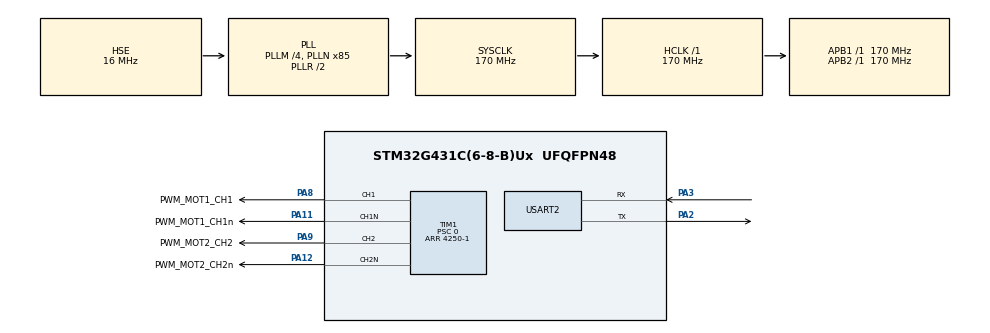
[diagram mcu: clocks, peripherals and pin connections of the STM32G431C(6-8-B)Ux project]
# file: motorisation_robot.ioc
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FREERTOS.Tasks01=defaultTask,0,128,StartDefaultTask,Default,NULL,Dynamic,NULL,NULL
Mcu.Family=STM32G4
Mcu.Name=STM32G431C(6-8-B)Ux
Mcu.Package=UFQFPN48
NVIC.PriorityGroup=NVIC_PRIORITYGROUP_4
PA11.GPIO_Label=PWM_MOT1_CH1n
PA11.Mode=PWM Generation1 CH1 CH1N
PA11.Signal=TIM1_CH1N
PA12.GPIO_Label=PWM_MOT2_CH2n
PA12.Mode=PWM Generation2 CH2 CH2N
PA12.Signal=TIM1_CH2N
PA2.Mode=Asynchronous
PA2.Signal=USART2_TX
PA3.Mode=Asynchronous
PA3.Signal=USART2_RX
PA8.GPIO_Label=PWM_MOT1_CH1
PA8.Signal=S_TIM1_CH1
PA9.GPIO_Label=PWM_MOT2_CH2
PA9.Signal=S_TIM1_CH2
PF0-OSC_IN.Mode=HSE-External-Oscillator
PF0-OSC_IN.Signal=RCC_OSC_IN
PF1-OSC_OUT.Mode=HSE-External-Oscillator
PF1-OSC_OUT.Signal=RCC_OSC_OUT
ProjectManager.HeapSize=0x200
ProjectManager.StackSize=0x400
ProjectManager.TargetToolchain=STM32CubeIDE
RCC.ADC12Freq_Value=170000000
RCC.AHBFreq_Value=170000000
RCC.APB1Freq_Value=170000000
RCC.APB1TimFreq_Value=170000000
RCC.APB2Freq_Value=170000000
RCC.APB2TimFreq_Value=170000000
RCC.CortexFreq_Value=170000000
RCC.EXTERNAL_CLOCK_VALUE=12288000
RCC.HCLKFreq_Value=170000000
RCC.HSE_VALUE=16000000
RCC.HSI48_VALUE=48000000
RCC.HSI_VALUE=16000000
RCC.LSE_VALUE=32768
RCC.PLLM=RCC_PLLM_DIV4
RCC.PLLN=85
RCC.PLLSourceVirtual=RCC_PLLSOURCE_HSE
RCC.SYSCLKFreq_VALUE=170000000
RCC.SYSCLKSource=RCC_SYSCLKSOURCE_PLLCLK
RCC.USBFreq_Value=170000000
RCC.VCOOutputFreq_Value=340000000
SH.S_TIM1_CH1.0=TIM1_CH1,PWM Generation1 CH1 CH1N
SH.S_TIM1_CH2.0=TIM1_CH2,PWM Generation2 CH2 CH2N
TIM1.Channel-PWM\ Generation1\ CH1\ CH1N=TIM_CHANNEL_1
TIM1.Channel-PWM\ Generation2\ CH2\ CH2N=TIM_CHANNEL_2
TIM1.CounterMode=TIM_COUNTERMODE_CENTERALIGNED1
TIM1.PeriodNoDither=4250-1
TIM1.Prescaler=0
TIM1.PulseNoDither_1=2450
TIM1.PulseNoDither_2=2450
USART2.VirtualMode-Asynchronous=VM_ASYNC
VP_FREERTOS_VS_CMSIS_V1.Mode=CMSIS_V1
VP_SYS_VS_DBSignals.Mode=DisableDeadBatterySignals
VP_TIM1_VS_ClockSourceINT.Mode=Internal
board=custom

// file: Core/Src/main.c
/* USER CODE BEGIN Header */
/**
 ******************************************************************************
 * @file           : main.c
 * @brief          : Main program body
 ******************************************************************************
 * @attention
 *
 * Copyright (c) 2024 STMicroelectronics.
 * All rights reserved.
 *
 * This software is licensed under terms that can be found in the LICENSE file
 * in the root directory of this software component.
 * If no LICENSE file comes with this software, it is provided AS-IS.
 *
 ******************************************************************************
 */
/* USER CODE END Header */
#include "main.h"
#include "cmsis_os.h"
#include "tim.h"
#include "usart.h"
#include "gpio.h"

/* USER CODE BEGIN Includes */
#include "drv_mot.h"
//#include "drv_mot_3.h"
#include <stdlib.h>
/* USER CODE END Includes */

/* USER CODE BEGIN PM */
#define POSITIVE_ROTATION 0
#define NEGATIVE_ROTATION 1
/* USER CODE END PM */

void SystemClock_Config(void);
void MX_FREERTOS_Init(void);

/* USER CODE BEGIN 0 */
//void start_pwm(){
//
//	HAL_TIM_PWM_Start(&htim1, TIM_CHANNEL_1);
//	HAL_TIMEx_PWMN_Start(&htim1,TIM_CHANNEL_1);
//
//	HAL_TIM_PWM_Start(&htim1, TIM_CHANNEL_2);
//	HAL_TIMEx_PWMN_Start(&htim1, TIM_CHANNEL_2);
//
//};

#ifdef __GNUC__ /* With GCC/RAISONANCE, small printf (option LD Linker->Libraries->Small printf    set to 'Yes') calls __io_putchar() */
#define PUTCHAR_PROTOTYPE int __io_putchar(int ch)
#else
#define PUTCHAR_PROTOTYPE int fputc(int ch, FILE *f)
#endif /* __GNUC__ */

/*void TaskMOTOR (void * pvParameters){
	for(;;){
		update_motor(motor1);
		update_motor(motor2);
		vTaskDelay(50);
	}
}*/

/* USER CODE END 0 */

int main(void)
{

  /* MCU Configuration--------------------------------------------------------*/

  /* Reset of all peripherals, Initializes the Flash interface and the Systick. */
  HAL_Init();

  /* Configure the system clock */
  SystemClock_Config();

  /* Initialize all configured peripherals */
  MX_GPIO_Init();
  MX_TIM1_Init();
  MX_USART2_UART_Init();
  /* USER CODE BEGIN 2 */

	//	MOTION_FWD
	//	MOTION_BACKWD

	//Bot_init(MOTION_FWD);
	//Bot_init(MOTION_FWD,50);
	Bot_init(MOTION_BACKWD,50);

#ifdef DEBUG_MODE //test unitaire marche forward et reverse

	// Initialisation des structures moteurs
	    Motor_drv_struct mtr_left, mtr_right;

	    // Assignation des canaux aux moteurs
	    DRV_MOT_Init(&mtr_left, MTR1_CHANNEL);  // Moteur gauche sur le canal 1
	    DRV_MOT_Init(&mtr_right, MTR2_CHANNEL); // Moteur droit sur le canal 2

	    // Initialisation pour tester le mode BACKWARD
	    printf("Test des moteurs en marche arrière\n");

	    // Lancement des moteurs en marche arrière
	    DRV_MOT_bot_dualRev(&mtr_left, &mtr_right);

	    // Réglage de la vitesse des moteurs
	    uint16_t speed = 1500; // Ajustez cette valeur selon vos besoins (entre 0 et 2800)
	    DRV_MOT_SetSpeed(&mtr_left, speed);
	    DRV_MOT_SetSpeed(&mtr_right, speed);

	    HAL_Delay(5000);

	    // Lancement des moteurs en marche avant
	    DRV_MOT_bot_dualFwd(&mtr_left, &mtr_right);

	    // Réglage de la vitesse des moteurs
	    //uint16_t speed = 1500; // Ajustez cette valeur selon vos besoins (entre 0 et 2800)
	    DRV_MOT_SetSpeed(&mtr_left, speed);
	    DRV_MOT_SetSpeed(&mtr_right, speed);

#endif

  /* USER CODE END 2 */

  /* Call init function for freertos objects (in cmsis_os2.c) */
  MX_FREERTOS_Init();

  /* Start scheduler */
  osKernelStart();

  /* We should never get here as control is now taken by the scheduler */

  /* Infinite loop */
	while (1)
	{

	}
}

void SystemClock_Config(void)
{
  RCC_OscInitTypeDef RCC_OscInitStruct = {0};
  RCC_ClkInitTypeDef RCC_ClkInitStruct = {0};

  /** Configure the main internal regulator output voltage
  */
  HAL_PWREx_ControlVoltageScaling(PWR_REGULATOR_VOLTAGE_SCALE1_BOOST);

  /** Initializes the RCC Oscillators according to the specified parameters
  * in the RCC_OscInitTypeDef structure.
  */
  RCC_OscInitStruct.OscillatorType = RCC_OSCILLATORTYPE_HSE;
  RCC_OscInitStruct.HSEState = RCC_HSE_ON;
  RCC_OscInitStruct.PLL.PLLState = RCC_PLL_ON;
  RCC_OscInitStruct.PLL.PLLSource = RCC_PLLSOURCE_HSE;
  RCC_OscInitStruct.PLL.PLLM = RCC_PLLM_DIV4;
  RCC_OscInitStruct.PLL.PLLN = 85;
  RCC_OscInitStruct.PLL.PLLP = RCC_PLLP_DIV2;
  RCC_OscInitStruct.PLL.PLLQ = RCC_PLLQ_DIV2;
  RCC_OscInitStruct.PLL.PLLR = RCC_PLLR_DIV2;
  if (HAL_RCC_OscConfig(&RCC_OscInitStruct) != HAL_OK)
  {
    Error_Handler();
  }

  /** Initializes the CPU, AHB and APB buses clocks
  */
  RCC_ClkInitStruct.ClockType = RCC_CLOCKTYPE_HCLK|RCC_CLOCKTYPE_SYSCLK
                              |RCC_CLOCKTYPE_PCLK1|RCC_CLOCKTYPE_PCLK2;
  RCC_ClkInitStruct.SYSCLKSource = RCC_SYSCLKSOURCE_PLLCLK;
  RCC_ClkInitStruct.AHBCLKDivider = RCC_SYSCLK_DIV1;
  RCC_ClkInitStruct.APB1CLKDivider = RCC_HCLK_DIV1;
  RCC_ClkInitStruct.APB2CLKDivider = RCC_HCLK_DIV1;

  if (HAL_RCC_ClockConfig(&RCC_ClkInitStruct, FLASH_LATENCY_4) != HAL_OK)
  {
    Error_Handler();
  }
}

void Error_Handler(void)
{
	__disable_irq();
	while (1)
	{
	}
}
